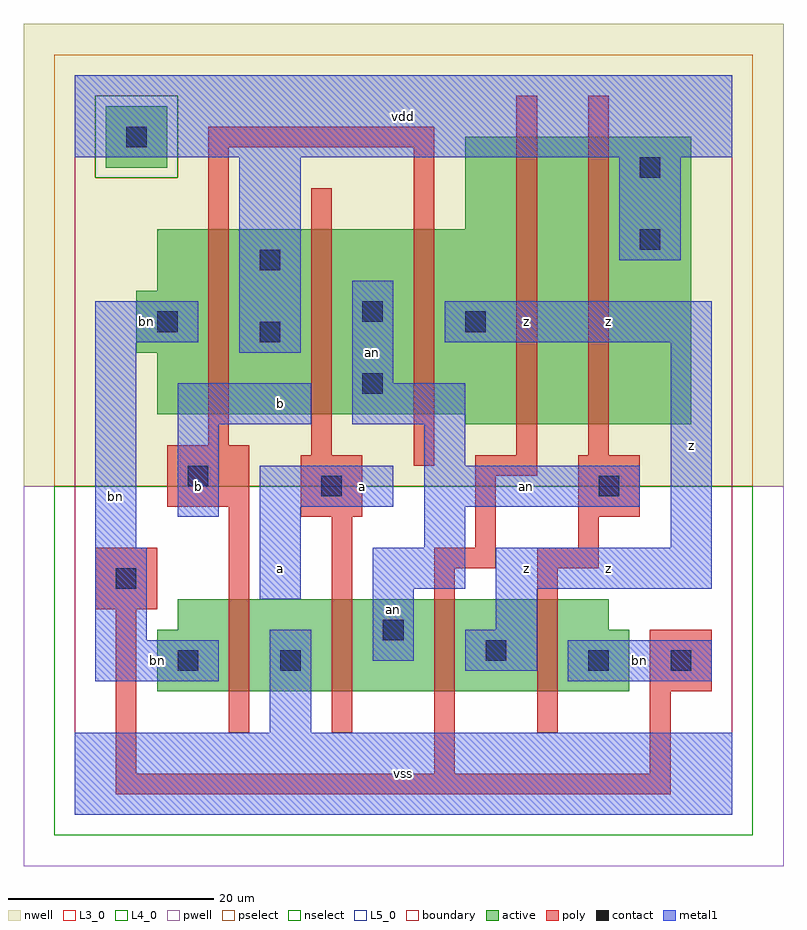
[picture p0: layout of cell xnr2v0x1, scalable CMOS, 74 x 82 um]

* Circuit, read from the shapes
.subckt xnr2v0x1 a an b bn vdd vss z
M1 vss b bn VSUBS nfet w=9u l=2u
M2 an a vss VSUBS nfet w=9u l=2u
M3 z bn an VSUBS nfet w=9u l=2u
M4 bn an z VSUBS nfet w=9u l=2u
M5 vdd b bn vdd pfet w=18u l=2u
M6 an a vdd vdd pfet w=18u l=2u
M7 z b an vdd pfet w=18u l=2u
M8 n1 bn z vdd pfet w=28u l=2u
M9 vdd an n1 vdd pfet w=28u l=2u
.ends

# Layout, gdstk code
import gdstk
lib = gdstk.Library(unit=1e-6, precision=1e-09)
def R(c, l, rs):  # rectangles x0, y0, x1, y1
    for r in rs: c.add(gdstk.rectangle(r[:2], r[2:], *l))
L3_0 = (3, 0)
L4_0 = (4, 0)
L5_0 = (5, 0)
contact = (25, 0)
pwell = (41, 0)
nwell = (42, 0)
active = (43, 0)
pselect = (44, 0)
nselect = (45, 0)
poly = (46, 0)
metal1 = (49, 0)
boundary = (63, 0)

xnr2v0x1 = lib.new_cell('xnr2v0x1')
R(xnr2v0x1, L3_0, [(8,12,54,18), (10,18,52,21)])
R(xnr2v0x1, L4_0, [(38,38,60,39), (8,39,60,45), (6,45,60,51), (8,51,60,57), (38,57,60,66)])
R(xnr2v0x1, L5_0, [(3,63,9,69)])
R(xnr2v0x1, contact, [(10,14,12,16), (20,14,22,16), (50,14,52,16), (58,14,60,16), (40,15,42,17), (30,17,32,19), (4,22,6,24), (24,31,26,33), (51,31,53,33), (11,32,13,34), (28,41,30,43), (18,46,20,48), (8,47,10,49), (38,47,40,49), (28,48,30,50), (18,53,20,55), (55,55,57,57), (55,62,57,64), (5,65,7,67)])
R(xnr2v0x1, pwell, [(-5,-5,69,32)])
R(xnr2v0x1, nwell, [(-5,32,69,77)])
R(xnr2v0x1, active, [(8,12,54,18), (10,18,52,21), (38,38,60,39), (8,39,60,45), (6,45,60,51), (8,51,60,57), (38,57,60,66), (3,63,9,69)])
R(xnr2v0x1, pselect, [(-2,32,66,62), (-2,62,2,70), (10,62,66,70), (-2,70,66,74)])
R(xnr2v0x1, nselect, [(-2,-2,66,32), (2,62,10,70)])
R(xnr2v0x1, poly, [(4,2,58,4), (4,4,6,20), (35,4,37,24), (56,4,58,12), (15,8,17,30), (25,8,27,29), (45,8,47,24), (56,12,62,18), (2,20,8,26), (35,24,41,26), (45,24,51,26), (39,26,41,33), (49,26,51,29), (22,29,28,35), (49,29,55,35), (9,30,17,36), (39,33,45,35), (33,34,35,65), (23,35,25,61), (43,35,45,70), (50,35,52,70), (13,36,15,65), (13,65,35,67)])
R(xnr2v0x1, metal1, [(0,0,64,8), (19,8,23,18), (2,13,14,17), (48,13,62,17), (38,14,45,18), (29,15,33,22), (2,17,7,26), (41,18,45,22), (18,21,22,30), (29,22,38,26), (41,22,62,26), (2,26,6,46), (34,26,38,30), (58,26,62,46), (10,29,14,38), (18,30,31,34), (34,30,55,34), (34,34,38,38), (10,38,23,42), (27,38,38,42), (27,42,31,52), (16,45,22,64), (2,46,12,50), (36,46,62,50), (53,54,59,64), (0,64,64,72)])
R(xnr2v0x1, boundary, [(0,0,64,72)])
xnr2v0x1.add(gdstk.Label('bn', (8,15), layer=49, texttype=0))
xnr2v0x1.add(gdstk.Label('bn', (7,48), layer=49, texttype=0))
xnr2v0x1.add(gdstk.Label('bn', (4,31), layer=49, texttype=0))
xnr2v0x1.add(gdstk.Label('an', (31,20), layer=49, texttype=0))
xnr2v0x1.add(gdstk.Label('an', (29,45), layer=49, texttype=0))
xnr2v0x1.add(gdstk.Label('bn', (55,15), layer=49, texttype=0))
xnr2v0x1.add(gdstk.Label('an', (44,32), layer=49, texttype=0))
xnr2v0x1.add(gdstk.Label('b', (12,32), layer=49, texttype=0))
xnr2v0x1.add(gdstk.Label('a', (28,32), layer=49, texttype=0))
xnr2v0x1.add(gdstk.Label('a', (20,24), layer=49, texttype=0))
xnr2v0x1.add(gdstk.Label('b', (20,40), layer=49, texttype=0))
xnr2v0x1.add(gdstk.Label('vss', (32,4), layer=49, texttype=0))
xnr2v0x1.add(gdstk.Label('z', (44,24), layer=49, texttype=0))
xnr2v0x1.add(gdstk.Label('z', (44,48), layer=49, texttype=0))
xnr2v0x1.add(gdstk.Label('vdd', (32,68), layer=49, texttype=0))
xnr2v0x1.add(gdstk.Label('z', (52,24), layer=49, texttype=0))
xnr2v0x1.add(gdstk.Label('z', (60,36), layer=49, texttype=0))
xnr2v0x1.add(gdstk.Label('z', (52,48), layer=49, texttype=0))

lib.write_gds('xnr2v0x1.gds')
